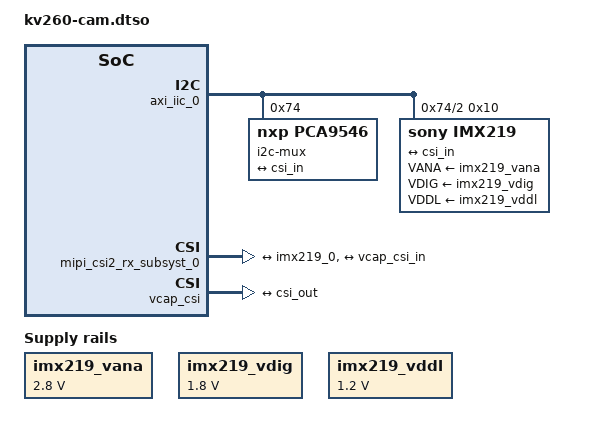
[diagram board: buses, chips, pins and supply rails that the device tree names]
/dts-v1/;
/plugin/;

/*
 * kv260-cam.dtso  -- native V4L2 pipeline
 *
 * Compatible string is -5.0. This is the only value the xilinx-csi2rxss
 * driver in kernel 5.15.0-1027-xilinx-zynqmp matches; -2.0/-3.0/-4.0 come
 * from a third-party fork and silently fail to match. The v3.0 IP register
 * map is compatible (CCR at 0x00, ISR at 0x24), so this is safe.
 *
 * REQUIRES the rebuilt bitstream containing xlconcat_0. The original
 * design_1.tcl never wired mipi_csi2_rx_subsyst_0/csirxss_csi_irq to the
 * PS, which made xilinx-csi2rxss fail probe with "IRQ index 0 not found"
 * (-ENXIO, logged only at pr_debug level -- hence the silent failure).
 *
 * camcap is commented out: it and vcap_csi both claim <&v_frmbuf_wr_0 0>
 * and cannot coexist. Swap which one is active depending on whether you
 * are using camcap.ko or /dev/video0.
 */

&fpga_full {
    firmware-name = "kv260-cam.bit.bin";
    resets = <&zynqmp_reset 0x74>;
};

&amba {
    #address-cells = <2>;
    #size-cells = <2>;

    clocking0: clocking0 {
        #clock-cells = <0>;
        compatible = "xlnx,fclk";
        clocks = <&zynqmp_clk 71>;
        assigned-clocks = <&zynqmp_clk 71>;
        assigned-clock-rates = <99999999>;
        clock-output-names = "fabric_clk";
    };

    clocking1: clocking1 {
        #clock-cells = <0>;
        compatible = "xlnx,fclk";
        clocks = <&zynqmp_clk 72>;
        assigned-clocks = <&zynqmp_clk 72>;
        assigned-clock-rates = <199999998>;
        clock-output-names = "fabric_clk";
    };

    imx219_clk: imx219_clk {
        #clock-cells = <0>;
        compatible = "fixed-clock";
        clock-frequency = <24000000>;
    };

    imx219_vana: imx219_vana {
        compatible = "regulator-fixed";
        regulator-name = "imx219_vana";
        regulator-min-microvolt = <2800000>;
        regulator-max-microvolt = <2800000>;
    };

    imx219_vdig: imx219_vdig {
        compatible = "regulator-fixed";
        regulator-name = "imx219_vdig";
        regulator-min-microvolt = <1800000>;
        regulator-max-microvolt = <1800000>;
    };

    imx219_vddl: imx219_vddl {
        compatible = "regulator-fixed";
        regulator-name = "imx219_vddl";
        regulator-min-microvolt = <1200000>;
        regulator-max-microvolt = <1200000>;
    };

    axi_iic_0: i2c@a0010000 {
        compatible = "xlnx,axi-iic-2.1", "xlnx,xps-iic-2.00.a";
        reg = <0x0 0xa0010000 0x0 0x10000>;
        clocks = <&zynqmp_clk 71>;
        clock-names = "s_axi_aclk";
        interrupt-parent = <&gic>;
        interrupts = <0 89 4>;
        #address-cells = <1>;
        #size-cells = <0>;

        i2c-mux@74 {
            compatible = "nxp,pca9546";
            reg = <0x74>;
            #address-cells = <1>;
            #size-cells = <0>;

            i2c@0 { reg = <0>; #address-cells = <1>; #size-cells = <0>; };
            i2c@1 { reg = <1>; #address-cells = <1>; #size-cells = <0>; };

            i2c@2 {
                reg = <2>;
                #address-cells = <1>;
                #size-cells = <0>;

                imx219: sensor@10 {
                    compatible = "sony,imx219";
                    reg = <0x10>;
                    clocks = <&imx219_clk>;
                    clock-names = "xclk";
                    VANA-supply = <&imx219_vana>;
                    VDIG-supply = <&imx219_vdig>;
                    VDDL-supply = <&imx219_vddl>;

                    port {
                        imx219_0: endpoint {
                            remote-endpoint = <&csi_in>;
                            data-lanes = <1 2>;
                            clock-noncontinuous;
                            link-frequencies = /bits/ 64 <456000000>;
                        };
                    };
                };
            };

            i2c@3 { reg = <3>; #address-cells = <1>; #size-cells = <0>; };
        };
    };

    mipi_csi2_rx_subsyst_0: mipi_csi2_rx_subsystem@a0020000 {
        compatible = "xlnx,mipi-csi2-rx-subsystem-5.0";
        reg = <0x0 0xa0020000 0x0 0x2000>;

        /*
         * xlconcat_0 feeds pl_ps_irq0: In0 = axi_iic_0 (SPI 89),
         * In1 = mipi_csi2_rx_subsyst_0/csirxss_csi_irq (SPI 90).
         * If the CSI interrupt never fires, check In0/In1 are not swapped
         * in the block design -- try 89 instead of 90.
         * Verify with: grep -i csi /proc/interrupts
         */
        interrupt-parent = <&gic>;
        interrupts = <0 90 4>;

        /* 0x2b = RAW10, matches CONFIG.CMN_PXL_FORMAT in design_1.tcl */
        xlnx,csi-pxl-format = <0x2b>;

        /* Video Format Bridge enabled: CSI drives an AXI4-Stream video_out */
        xlnx,vfb;

        /* Both are pl_clk0 in design_1.tcl */
        clock-names = "lite_aclk", "video_aclk";
        clocks = <&zynqmp_clk 71>, <&zynqmp_clk 71>;

        ports {
            #address-cells = <1>;
            #size-cells = <0>;

            port@0 {
                /* Sink: from the sensor */
                reg = <0>;
                csi_in: endpoint {
                    remote-endpoint = <&imx219_0>;
                    data-lanes = <1 2>;
                };
            };

            port@1 {
                /* Source: to the capture node */
                reg = <1>;
                csi_out: endpoint {
                    remote-endpoint = <&vcap_csi_in>;
                };
            };
        };
    };

    v_frmbuf_wr_0: v_frmbuf_wr@a0000000 {
        compatible = "xlnx,v-frmbuf-wr-3.1", "xlnx,v-frmbuf-wr-v3.0", "xlnx,axi-frmbuf-wr-v2.2";
        reg = <0x0 0xa0000000 0x0 0x10000>;
        #dma-cells = <1>;
        interrupt-parent = <&gic>;
        interrupt-names = "interrupt";
        interrupts = <0 104 4>;
        clocks = <&zynqmp_clk 71>;
        clock-names = "ap_clk";
        reset-gpios = <&gpio 79 1>;
        xlnx,dma-addr-width = <32>;
        xlnx,dma-align = <8>;
        xlnx,pixels-per-clock = <1>;
        xlnx,vid-formats = "rggb10";
        xlnx,max-width = <1920>;
        xlnx,max-height = <1080>;
        xlnx,max-nr-planes = <1>;
    };

    /*
     * Xilinx Video IP Pipeline. This node builds the media graph and
     * creates /dev/media0 and /dev/video0. Without it, csi2rxss registers
     * only as an unbound async subdev and no device nodes appear.
     */
    vcap_csi: vcap_csi {
        compatible = "xlnx,video";
        dmas = <&v_frmbuf_wr_0 0>;
        dma-names = "port0";

        ports {
            #address-cells = <1>;
            #size-cells = <0>;

            port@0 {
                reg = <0>;
                direction = "input";
                vcap_csi_in: endpoint {
                    remote-endpoint = <&csi_out>;
                };
            };
        };
    };

    /*
     * Legacy camcap path. Mutually exclusive with vcap_csi above -- both
     * claim <&v_frmbuf_wr_0 0>. Uncomment this and comment out vcap_csi
     * (and port@1 / csi_out in the CSI node) to fall back to camcap.ko.
     *
     * camcap: camcap {
     *     compatible = "kv260,camcap";
     *     dmas = <&v_frmbuf_wr_0 0>;
     *     dma-names = "rx";
     * };
     */
};
